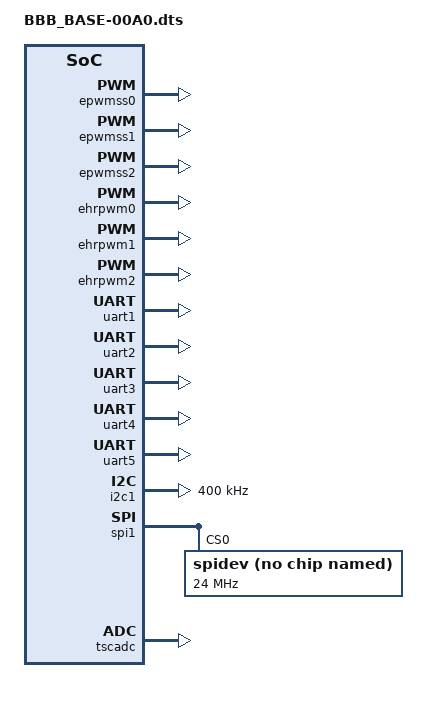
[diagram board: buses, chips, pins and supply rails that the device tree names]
/*
 * Device Tree Overlay for Robotics Cape SD-101D
 * Strawson Design 2015
 *
 */
 
/*
pinmux control byte map courtesy of http://beaglebone.cameon.net/
Bit 5: 1 - Input, 0 - Output
Bit 4: 1 - Pull up, 0 - Pull down
Bit 3: 1 - Pull disabled, 0 - Pull enabled
Bit 2 \
Bit 1 |- Mode
Bit 0 /
 */
 
/dts-v1/;
/plugin/; 

/ {
    compatible = "ti,beaglebone-black";

    /* identification */
    part-number = "RoboticsCape";

    /* version */
    version = "00A0";
	
	exclusive-use =
		"P8.7",		/*LED_RED*/
		"P8.8",		/*LED_GRN*/
		"P8.9",		/*PAUSE_BTN*/
		"P8.10",	/*MODE_BTN*/
		"P8.13",	/*PWM_2B*/
		"P8.14",	/*BATT_LED_4*/
		"P8.17",	/*BATT_LED_1*/
		"P8.19",	/*PWM_2A*/
		"P8.26",	/*BATT_LED_3*/
		"P8.34",	/*MDIR_2B*/
		"P8.37",	/*UART5_TX*/
		"P8.38",	/*UART5_RX*/
		"P8.36",	/*SERVO_PWR*/
		"P8.43",	/*MDIR_3B*/
		"P8.44",	/*MDIR_3A*/
		"P8.45",	/*MDIR_4A*/
		"P8.46",	/*MDIR_4B*/
		
		"P9.11",	/*UART4_RX*/
		"P9.12",	/*MDIR_1A*/
		"P9.13",	/*MDIR_1B*/	
		"P9.14",	/*PWM_1A*/
		"P9.15",	/*MDIR_2A*/
		"P9.16",	/*PWM_1B*/
		"P9.17",	/*I2C1_SCL*/
		"P9.18",	/*I2C1_SDA*/
		"P9.19",	/*I2C2_SCL*/
		"P9.20",	/*I2C2_SDA*/
		"P9.21",	/*UART2_TX*/
		"P9.22",	/*UART2_RX*/
		"P9.23", 	/*SPI1_SS2*/
		"P9.24",	/*UART1_TX*/
		"P9.25",	/*IMU_INT*/
		"P9.26",	/*UART1_RX*/
		"P9.28",	/*SPI1_SS1*/
		"P9.29",	/*SPI1_MISO*/
		"P9.30",	/*SPI1_MOSI*/
		"P9.31",	/*SPI1_SCK*/
		"P9.35", 	/*V_DIV_BAT*/
		"P9.36", 	/*V_DIV_DC*/
		"P9.37", 	/*AIN2*/
		"P9.38", 	/*AIN3*/
		"P9.39", 	/*AIN0*/
		"P9.40", 	/*AIN1*/
		"P9.41",	/*MOT_STBY*/


		/* eQEP Under Testing */

		"P8.15",	/*PRU_ENCODER_B*/
		"P8.16",	/*PRU_ENCODER_A*/
		"P8.36",	/*SERVO_PWR*/
		"P8.27",	/*SERVO_1*/
		"P8.28",	/*SERVO_2*/
		"P8.29",	/*SERVO_3*/
		"P8.30",	/*SERVO_4*/
		"P8.39",	/*SERVO_5*/
		"P8.40",	/*SERVO_6*/
		"P8.41",	/*SERVO_7*/
		"P8.42",	/*SERVO_8*/
		
		"ehrpwm1A",
		"ehrpwm1B",
		"ehrpwm2A",
		"ehrpwm2B",
		"i2c1",
		"i2c2",
		"uart1",	/*breakout*/
		"uart2",	/*GPS*/
		"uart4",	/*DSM2*/
		"uart5", 	/*breakout*/
		"spi1",
		"tscadc";

		"pruss",
		"pru0",
		"pru1";
	
		
		
	
fragment@0 {
	target = <&am33xx_pinmux>;
	__overlay__ {
		/****************************************
		* 			pinmux helper				
		****************************************/
		mux_helper_pins: pins {
			pinctrl-single,pins = <
			
			/* HRPWM 1 */
			0x048  0x6 /* P9_14 | MODE 6 */
			0x04c  0x6 /* P9_16 | MODE 6 */
			 
			/* HRPWM 2 */
			0x020  0x4 /* P8_19 | MODE 4 */
			0x024  0x4 /* P8_13 | MODE 4 */
			
			/* GPIO Inputs */
			0x09c 0x37	/*P8.9  Pause BUTTON, input pullup*/
			0x098 0x37	/*P8.10 MODE BUTTON input pullup*/
			0x1AC 0x37	/*P9.25 MPU-9150 INTERRUPT IN*/
			
			/* GPIO Outputs
			0x090 0x0F	/*P8.7, MODE7*/
			0x094 0x0F	/*P8.8*/
			0x028 0x0F	/*P8.14*/
			0x02C 0x0F	/*P8.17*/
			0x08c 0x0F	/*P8.18*/
			0x07c 0x0F	/*P8.26*/
			0x0cc 0x0F	/*P8.34*/
			0x0C8 0x0F	/*P8.36*/
			0x0a8 0x0F	/*P8.43*/
			0x0ac 0x0F	/*P8.44*/
			0x0a0 0x0F	/*P8.45*/
			0x0a4 0x0F	/*P8.46*/
			0x078 0x0F	/*P9.12*/
			0x074 0x0F	/*P9.13*/
			0x040 0x0F	/*P9.15*/
			0x044 0x0F	/*P9.23*/
			0x19C 0x0F	/*P9.28*/
			0x1b4 0x0F	/*P9.41*/
			
			/* I2C1 */
			0x15C 0x32	/* P9.17,i2c1_scl,INPUT_PULLUP,MODE2 */
			0x158 0x32	/* P9.18,i2c1_sda,INPUT_PULLUP,MODE2 */
			
			/* SPI1 */
			0x190 0x33	/*spi1_sclk,INPUT_PULLUP,MODE3 */
			0x194 0x33	/*spi1_d0,INPUT_PULLUP,MODE3 */
			0x198 0x13	/*spi1_d1,OUTPUT_PULLUP,MODE3 */
			0x19c 0x0F	/*spi1_cs0,OUTPUT_PULLUP,MODE7 */
			
			/* UART1 */
			0x184 0x10 /*P9.24,uart1_txd,MODE0,OUTPUT*/
			0x180 0x30 /*P9.26,uart1_rxd,MODE0,INPUT*/
			
			/* UART2 */
			0x150 0x21	/*P9.22,uart2_rxd,MODE1 */
			0x154 0x11	/*P9.21,uart2_txd,MODE1 */
			
			
			/* UART5 */
			0x0C4 0x34	/* P8.38,uart5_rxd,MODE4 */
			0x0C0 0x14	/* P8.37,uart5_txd,MODE4 */
			
			>;
		};
			
		/****************************************/
		/* 			DSM2 UART4 pinmux			*/
		/* only pin that swaps between GPIO&UART*/
		/****************************************/
		P9_11_default_pin: pinmux_P9_11_default_pin {
			pinctrl-single,pins = <0x070  0x36>; };     /* Mode 6 uart */
		P9_11_gpio_pin: pinmux_P9_11_gpio_pin {
			pinctrl-single,pins = <0x070  0x2F>; };     /* Mode 7, RxActive */
		P9_11_gpio_pu_pin: pinmux_P9_11_gpio_pu_pin {
			pinctrl-single,pins = <0x070  0x37>; };     /* Mode 7, Pull-Up, RxActive */
		P9_11_gpio_pd_pin: pinmux_P9_11_gpio_pd_pin {
			pinctrl-single,pins = <0x070  0x27>; };     /* Mode 7, Pull-Down, RxActive */
		P9_11_uart_pin: pinmux_P9_11_uart_pin {
			pinctrl-single,pins = <0x070  0x36>; };     /* Mode 6, uart */
			
	};
};
	
/****************************************
	Pinmux Helper
	activates the pinmux helper list of pin modes
****************************************/
fragment@1 {
	target = <&ocp>;
		__overlay__ {
			test_helper: helper {
			compatible = "bone-pinmux-helper";
			pinctrl-names = "default";
			pinctrl-0 = <&mux_helper_pins>;
			status = "okay";
		};
	};
};

	
/****************************************
 		PWMSS			
****************************************/	
fragment@2 {
	target = <&epwmss0>;
	__overlay__ {
		status = "okay";
	};
};

fragment@3 {
	target = <&epwmss1>;
	__overlay__ {
		status = "okay";
	};
};

fragment@4 {
	target = <&epwmss2>;
	__overlay__ {
		status = "okay";
	};
};


fragment@5 {
	target = <&ehrpwm0>;
	__overlay__ {
		status = "okay";
	};
};

fragment@6 {
	target = <&ehrpwm1>;
	__overlay__ {
		status = "okay";
	};
};

fragment@7 {
	target = <&ehrpwm2>;
	__overlay__ {
		status = "okay";
	};
};


/****************************************
 	UART
	
	UART 1, 2, 5 are used on the cape. 
	The Beaglebone Blue uses others so all are enabled here.
****************************************/	

fragment@22 {
	target = <&uart1>;
	__overlay__ {
		status = "okay";
	};
};

fragment@23 {
	target = <&uart2>;
	__overlay__ {
		status = "okay";
	};
};

fragment@24 {
	target = <&uart3>;
	__overlay__ {
		status = "okay";
	};
};

fragment@25 {
	target = <&uart4>;
	__overlay__ {
		status = "okay";
	};
};

fragment@26 {
	target = <&uart5>;
	__overlay__ {
		status = "okay";
	};
};



/****************************************
 	configurable DSM2 pin
	swaps between GPIO & UART4 at runtime
****************************************/	
fragment@30 {
	target = <&ocp>;
	__overlay__ {
	 P9_11_pinmux {
			compatible = "bone-pinmux-helper";
			status = "okay";
			pinctrl-names = "default", "gpio", "gpio_pu", "gpio_pd", "uart";
			pinctrl-0 = <&P9_11_default_pin>;
			pinctrl-1 = <&P9_11_gpio_pin>;
			pinctrl-2 = <&P9_11_gpio_pu_pin>;
			pinctrl-3 = <&P9_11_gpio_pd_pin>;
			pinctrl-4 = <&P9_11_uart_pin>;
		};
	};
};


/****************************************
 		I2C			
****************************************/	
fragment@32 {
	target = <&i2c1>;	/* i2c1 is numbered correctly */
	__overlay__ {
		status = "okay";

		/* this is the configuration part */
		clock-frequency = <400000>;

		#address-cells = <1>;
		#size-cells = <0>;

		/* add any i2c devices on the bus here */
	};
};

/****************************************
 		SPI			
****************************************/	
 fragment@33 {
        target = <&spi1>;
        __overlay__ {

             #address-cells = <1>;
             #size-cells = <0>;
             status = "okay";

             spidev@1 {
                 spi-max-frequency = <24000000>;
                 reg = <0>;
                 compatible = "linux,spidev";
            };
        };
    };


  fragment@34 {
		target = <&tscadc>;
		__overlay__ {

			status = "okay";
			adc {
    		ti,adc-channels = <0 1 2 3 5 6>;
			};
		};
	};
	
};


/****************************************
 		PRU			
****************************************/	
fragment@35 {
	target = <&pruss>;
	__overlay__ {
		status = "okay";
	};
};

